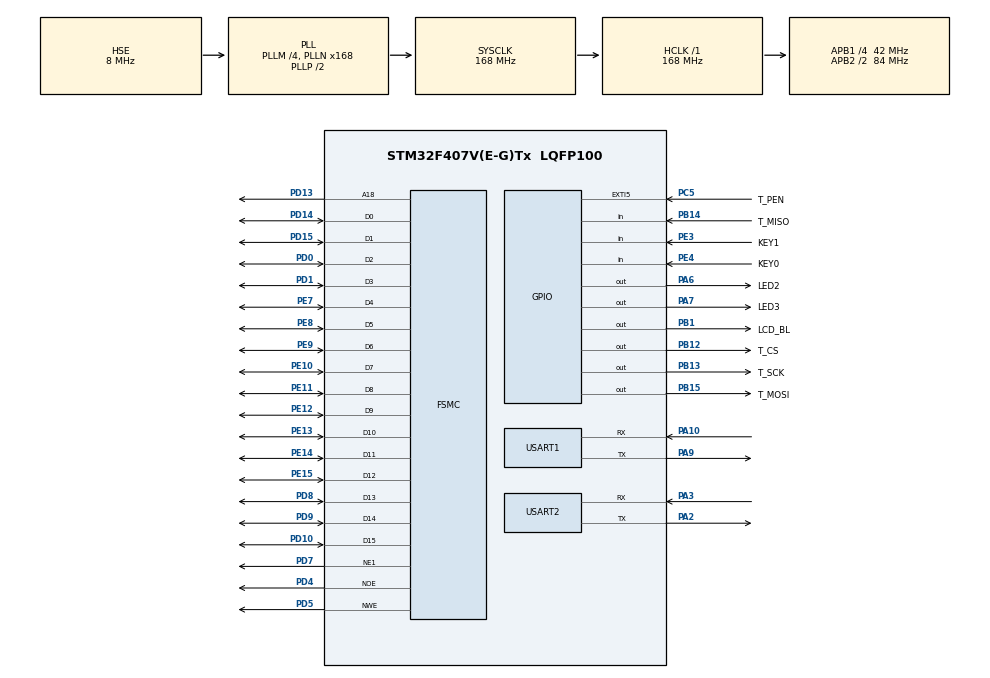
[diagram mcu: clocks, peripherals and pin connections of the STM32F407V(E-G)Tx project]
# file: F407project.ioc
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FREERTOS.BinarySemaphores01=weatherSemaphore,Dynamic,NULL,Available
FREERTOS.Tasks01=defaultTask,24,128,StartDefaultTask,Default,NULL,Dynamic,NULL,NULL;lvglTask,40,512,StartLVGLTask,Default,NULL,Dynamic,NULL,NULL;weatherTask,24,1024,StartWeatherTask,Default,NULL,Dynamic,NULL,NULL
FREERTOS.configTOTAL_HEAP_SIZE=32768
FREERTOS.configUSE_IDLE_HOOK=1
FSMC.BusTurnAroundDuration1=0
FSMC.DataSetupTime1=60
FSMC.ExtendedAddressSetupTime1=9
FSMC.ExtendedBusTurnAroundDuration1=0
FSMC.ExtendedDataSetupTime1=8
FSMC.ExtendedMode1=FSMC_EXTENDED_MODE_ENABLE
Mcu.Family=STM32F4
Mcu.Name=STM32F407V(E-G)Tx
Mcu.Package=LQFP100
NVIC.EXTI9_5_IRQn=true\:5\:0\:false\:false\:true\:true\:true\:true\:true
NVIC.PriorityGroup=NVIC_PRIORITYGROUP_4
NVIC.TIM2_IRQn=true\:5\:0\:false\:false\:true\:true\:true\:true\:true
NVIC.TIM4_IRQn=true\:15\:0\:false\:false\:true\:false\:false\:true\:true
NVIC.TimeBase=TIM4_IRQn
NVIC.TimeBaseIP=TIM4
NVIC.USART2_IRQn=true\:5\:0\:false\:false\:true\:true\:true\:true\:true
PA10.Mode=Asynchronous
PA10.Signal=USART1_RX
PA13.Mode=Serial_Wire
PA13.Signal=SYS_JTMS-SWDIO
PA14.Mode=Serial_Wire
PA14.Signal=SYS_JTCK-SWCLK
PA2.Mode=Asynchronous
PA2.Signal=USART2_TX
PA3.Mode=Asynchronous
PA3.Signal=USART2_RX
PA6.GPIO_Label=LED2
PA6.GPIO_ModeDefaultOutputPP=GPIO_MODE_OUTPUT_PP
PA6.PinState=GPIO_PIN_SET
PA6.Signal=GPIO_Output
PA7.GPIO_Label=LED3
PA7.PinState=GPIO_PIN_SET
PA7.Signal=GPIO_Output
PA9.Mode=Asynchronous
PA9.Signal=USART1_TX
PB1.GPIO_Label=LCD_BL
PB1.PinState=GPIO_PIN_SET
PB1.Signal=GPIO_Output
PB12.GPIO_Label=T_CS
PB12.GPIO_ModeDefaultOutputPP=GPIO_MODE_OUTPUT_PP
PB12.PinState=GPIO_PIN_SET
PB12.Signal=GPIO_Output
PB13.GPIO_Label=T_SCK
PB13.Signal=GPIO_Output
PB14.GPIO_Label=T_MISO
PB14.Signal=GPIO_Input
PB15.GPIO_Label=T_MOSI
PB15.Signal=GPIO_Output
PC14-OSC32_IN.Mode=LSE-External-Oscillator
PC14-OSC32_IN.Signal=RCC_OSC32_IN
PC15-OSC32_OUT.Mode=LSE-External-Oscillator
PC15-OSC32_OUT.Signal=RCC_OSC32_OUT
PC5.GPIO_Label=T_PEN
PC5.GPIO_ModeDefaultEXTI=GPIO_MODE_IT_RISING
PC5.GPIO_PuPd=GPIO_PULLUP
PC5.Signal=GPXTI5
PD0.GPIO_PuPd=GPIO_PULLUP
PD0.Mode=16b-d1
PD0.Signal=FSMC_D2
PD1.GPIO_PuPd=GPIO_PULLUP
PD1.Mode=16b-d1
PD1.Signal=FSMC_D3
PD10.GPIO_PuPd=GPIO_PULLUP
PD10.Mode=16b-d1
PD10.Signal=FSMC_D15
PD13.GPIO_PuPd=GPIO_PULLUP
PD13.Mode=A18_1
PD13.Signal=FSMC_A18
PD14.GPIO_PuPd=GPIO_PULLUP
PD14.Mode=16b-d1
PD14.Signal=FSMC_D0
PD15.GPIO_PuPd=GPIO_PULLUP
PD15.Mode=16b-d1
PD15.Signal=FSMC_D1
PD4.GPIO_PuPd=GPIO_PULLUP
PD4.Mode=Lcd1
PD4.Signal=FSMC_NOE
PD5.GPIO_PuPd=GPIO_PULLUP
PD5.Mode=Lcd1
PD5.Signal=FSMC_NWE
PD7.GPIO_PuPd=GPIO_PULLUP
PD7.Mode=NorPsramChipSelect1_1
PD7.Signal=FSMC_NE1
PD8.GPIO_PuPd=GPIO_PULLUP
PD8.Mode=16b-d1
PD8.Signal=FSMC_D13
PD9.GPIO_PuPd=GPIO_PULLUP
PD9.Mode=16b-d1
PD9.Signal=FSMC_D14
PE10.GPIO_PuPd=GPIO_PULLUP
PE10.Mode=16b-d1
PE10.Signal=FSMC_D7
PE11.GPIO_PuPd=GPIO_PULLUP
PE11.Mode=16b-d1
PE11.Signal=FSMC_D8
PE12.GPIO_PuPd=GPIO_PULLUP
PE12.Mode=16b-d1
PE12.Signal=FSMC_D9
PE13.GPIO_PuPd=GPIO_PULLUP
PE13.Mode=16b-d1
PE13.Signal=FSMC_D10
PE14.GPIO_PuPd=GPIO_PULLUP
PE14.Mode=16b-d1
PE14.Signal=FSMC_D11
PE15.GPIO_PuPd=GPIO_PULLUP
PE15.Mode=16b-d1
PE15.Signal=FSMC_D12
PE3.GPIO_Label=KEY1
PE3.GPIO_PuPd=GPIO_PULLUP
PE3.Signal=GPIO_Input
PE4.GPIO_Label=KEY0
PE4.GPIO_PuPd=GPIO_PULLUP
PE4.Signal=GPIO_Input
PE7.GPIO_PuPd=GPIO_PULLUP
PE7.Mode=16b-d1
PE7.Signal=FSMC_D4
PE8.GPIO_PuPd=GPIO_PULLUP
PE8.Mode=16b-d1
PE8.Signal=FSMC_D5
PE9.GPIO_PuPd=GPIO_PULLUP
PE9.Mode=16b-d1
PE9.Signal=FSMC_D6
PH0-OSC_IN.Mode=HSE-External-Oscillator
PH0-OSC_IN.Signal=RCC_OSC_IN
PH1-OSC_OUT.Mode=HSE-External-Oscillator
PH1-OSC_OUT.Signal=RCC_OSC_OUT
ProjectManager.HeapSize=0x200
ProjectManager.StackSize=0x400
ProjectManager.TargetToolchain=CMake
RCC.48MHZClocksFreq_Value=84000000
RCC.AHBFreq_Value=168000000
RCC.APB1CLKDivider=RCC_HCLK_DIV4
RCC.APB1Freq_Value=42000000
RCC.APB1TimFreq_Value=84000000
RCC.APB2CLKDivider=RCC_HCLK_DIV2
RCC.APB2Freq_Value=84000000
RCC.APB2TimFreq_Value=168000000
RCC.CortexFreq_Value=168000000
RCC.HCLKFreq_Value=168000000
RCC.HSE_VALUE=8000000
RCC.HSI_VALUE=16000000
RCC.PLLM=4
RCC.PLLN=168
RCC.PLLSourceVirtual=RCC_PLLSOURCE_HSE
RCC.RCC_RTC_Clock_Source=RCC_RTCCLKSOURCE_LSE
RCC.RCC_RTC_Clock_SourceVirtual=RCC_RTCCLKSOURCE_LSE
RCC.SYSCLKFreq_VALUE=168000000
RCC.SYSCLKSource=RCC_SYSCLKSOURCE_PLLCLK
RCC.VCOOutputFreq_Value=336000000
TIM2.AutoReloadPreload=TIM_AUTORELOAD_PRELOAD_ENABLE
TIM2.Period=999
TIM2.Prescaler=83
USART1.VirtualMode=VM_ASYNC
USART2.VirtualMode=VM_ASYNC
VP_FREERTOS_VS_CMSIS_V2.Mode=CMSIS_V2
VP_RTC_VS_RTC_Activate.Mode=RTC_Enabled
VP_SYS_VS_tim4.Mode=TIM4
VP_TIM2_VS_ClockSourceINT.Mode=Internal
board=custom

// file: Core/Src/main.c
/* USER CODE BEGIN Header */
/**
  ******************************************************************************
  * @file           : main.c
  * @brief          : Main program body
  ******************************************************************************
  * @attention
  *
  * Copyright (c) 2026 STMicroelectronics.
  * All rights reserved.
  *
  * This software is licensed under terms that can be found in the LICENSE file
  * in the root directory of this software component.
  * If no LICENSE file comes with this software, it is provided AS-IS.
  *
  ******************************************************************************
  */
/* USER CODE END Header */
#include "main.h"
#include "cmsis_os.h"
#include "rtc.h"
#include "tim.h"
#include "usart.h"
#include "gpio.h"
#include "fsmc.h"

/* USER CODE BEGIN PTD */
lv_ui guider_ui;// 全局变量，存储界面元素
extern long long time;// 存储从网络获取的时间戳（毫秒级）
uint16_t current_time[7];// 存储RTC时间的数组：年、月、日、时、分、秒、星期
char cached_time_str[10] = "00:00";// 初始值，确保第一次更新时会刷新显示
char cached_date_str[30] = "2024/1/1";// 初始值，确保第一次更新时会刷新显示
/* USER CODE END PTD */

/* USER CODE BEGIN PV */
// 外部声明FreeRTOS对象
extern osSemaphoreId_t weatherSemaphoreHandle;
/* USER CODE END PV */

void SystemClock_Config(void);
void MX_FREERTOS_Init(void);

int main(void)
{

  /* MCU Configuration--------------------------------------------------------*/

  /* Reset of all peripherals, Initializes the Flash interface and the Systick. */
  HAL_Init();

  /* Configure the system clock */
  SystemClock_Config();

  /* Initialize all configured peripherals */
  MX_GPIO_Init();
  MX_TIM2_Init();
  MX_FSMC_Init();
  MX_USART2_UART_Init();
  MX_USART1_UART_Init();
  MX_RTC_Init();
  /* USER CODE BEGIN 2 */
  // 连接WiFi并获取网络时间
  ESP8266_Init();          // 连接 WiFi
  ESP8266_MQTT_Init();
  //ESP8266_GetTime();       // 获取网络时间
  //MyRTC_SetFromEpoch((time / 1000)+9); // 转换为秒级
  ESP8266_GetWeather();
   extern int temperature;
    extern int humidity;
      char mqtt_data[128];
      snprintf(mqtt_data, sizeof(mqtt_data),
               "{\"temp\":%d,\"humidity\":%d,\"location\":\"%s\"}",
               temperature, humidity, YOUR_LOCATION);
      ESP8266_MQTT_Publish(mqtt_data);
  // 启用LVGL图形界面
  lv_init();
  lv_port_disp_init();
  lv_port_indev_init();
  setup_ui(&guider_ui);
  events_init(&guider_ui);

  // 初始化完成后更新日期显示（包含星期）
  update_main_screen_date();

  lv_timer_create(time_update_timer_cb, 1000, NULL);// 1秒更新一次时间
  lv_timer_create(weather_update_timer_cb, 100, NULL);// 100ms检查一次，10分钟更新一次天气
  // 在所有初始化完成后再启动TIM2定时器中断
  HAL_TIM_Base_Start_IT(&htim2);
  /* USER CODE END 2 */

  /* Init scheduler */
  osKernelInitialize();  /* Call init function for freertos objects (in cmsis_os2.c) */
  MX_FREERTOS_Init();

  /* Start scheduler */
  osKernelStart();

  /* We should never get here as control is now taken by the scheduler */

  /* Infinite loop */
  while (1)
  {

  }
}

void SystemClock_Config(void)
{
  RCC_OscInitTypeDef RCC_OscInitStruct = {0};
  RCC_ClkInitTypeDef RCC_ClkInitStruct = {0};

  /** Configure the main internal regulator output voltage
  */
  __HAL_RCC_PWR_CLK_ENABLE();
  __HAL_PWR_VOLTAGESCALING_CONFIG(PWR_REGULATOR_VOLTAGE_SCALE1);

  /** Initializes the RCC Oscillators according to the specified parameters
  * in the RCC_OscInitTypeDef structure.
  */
  RCC_OscInitStruct.OscillatorType = RCC_OSCILLATORTYPE_HSE|RCC_OSCILLATORTYPE_LSE;
  RCC_OscInitStruct.HSEState = RCC_HSE_ON;
  RCC_OscInitStruct.LSEState = RCC_LSE_ON;
  RCC_OscInitStruct.PLL.PLLState = RCC_PLL_ON;
  RCC_OscInitStruct.PLL.PLLSource = RCC_PLLSOURCE_HSE;
  RCC_OscInitStruct.PLL.PLLM = 4;
  RCC_OscInitStruct.PLL.PLLN = 168;
  RCC_OscInitStruct.PLL.PLLP = RCC_PLLP_DIV2;
  RCC_OscInitStruct.PLL.PLLQ = 4;
  if (HAL_RCC_OscConfig(&RCC_OscInitStruct) != HAL_OK)
  {
    Error_Handler();
  }

  /** Initializes the CPU, AHB and APB buses clocks
  */
  RCC_ClkInitStruct.ClockType = RCC_CLOCKTYPE_HCLK|RCC_CLOCKTYPE_SYSCLK
                              |RCC_CLOCKTYPE_PCLK1|RCC_CLOCKTYPE_PCLK2;
  RCC_ClkInitStruct.SYSCLKSource = RCC_SYSCLKSOURCE_PLLCLK;
  RCC_ClkInitStruct.AHBCLKDivider = RCC_SYSCLK_DIV1;
  RCC_ClkInitStruct.APB1CLKDivider = RCC_HCLK_DIV4;
  RCC_ClkInitStruct.APB2CLKDivider = RCC_HCLK_DIV2;

  if (HAL_RCC_ClockConfig(&RCC_ClkInitStruct, FLASH_LATENCY_5) != HAL_OK)
  {
    Error_Handler();
  }
}

void Error_Handler(void)
{
  __disable_irq();
  while (1)
  {
  }
}

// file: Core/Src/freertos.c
/* USER CODE BEGIN Header */
/**
  ******************************************************************************
  * File Name          : freertos.c
  * Description        : Code for freertos applications
  ******************************************************************************
  * @attention
  *
  * Copyright (c) 2026 STMicroelectronics.
  * All rights reserved.
  *
  * This software is licensed under terms that can be found in the LICENSE file
  * in the root directory of this software component.
  * If no LICENSE file comes with this software, it is provided AS-IS.
  *
  ******************************************************************************
  */
/* USER CODE END Header */

#include "FreeRTOS.h"
#include "task.h"
#include "main.h"
#include "cmsis_os.h"

/* USER CODE BEGIN Includes */
#include "stm32f4xx_hal_pwr.h"

volatile uint8_t weather_update_pending = 0;// 天气更新标志，供LVGLTask检查

// 背光控制变量
#define BACKLIGHT_TIMEOUT_MS    30000
volatile uint32_t lastActivityTime = 0;
volatile uint8_t backlightState = 1;

void Backlight_On(void) {
    HAL_GPIO_WritePin(LCD_BL_GPIO_Port, LCD_BL_Pin, GPIO_PIN_SET);
    backlightState = 1;
    lastActivityTime = HAL_GetTick();
}

void Backlight_Off(void) {
    HAL_GPIO_WritePin(LCD_BL_GPIO_Port, LCD_BL_Pin, GPIO_PIN_RESET);
    backlightState = 0;
}

void Backlight_Update(void) {
    uint32_t elapsed = HAL_GetTick() - lastActivityTime;
    if (elapsed > BACKLIGHT_TIMEOUT_MS && backlightState) {
        Backlight_Off();
        printf("[背光] 无操作超时，关闭背光省电\r\n");
    }
}

void Backlight_Activity(void) {
    lastActivityTime = HAL_GetTick();
    if (!backlightState) {
        Backlight_On();
        printf("[背光] 检测到活动，开启背光\r\n");
    }
}
/* USER CODE END Includes */

/* Definitions for defaultTask */
// 任务句柄
osThreadId_t defaultTaskHandle;
const osThreadAttr_t defaultTask_attributes = {
  .name = "defaultTask",
  .stack_size = 128 * 4,
  .priority = (osPriority_t) osPriorityNormal,
};
/* Definitions for lvglTask */
// 任务句柄
osThreadId_t lvglTaskHandle;
const osThreadAttr_t lvglTask_attributes = {
  .name = "lvglTask",
  .stack_size = 512 * 4,
  .priority = (osPriority_t) osPriorityHigh,
};
/* Definitions for weatherTask */
osThreadId_t weatherTaskHandle;
const osThreadAttr_t weatherTask_attributes = {
  .name = "weatherTask",
  .stack_size = 1024 * 4,
  .priority = (osPriority_t) osPriorityNormal,
};
/* Definitions for weatherSemaphore */
osSemaphoreId_t weatherSemaphoreHandle;
const osSemaphoreAttr_t weatherSemaphore_attributes = {
  .name = "weatherSemaphore"
};

void StartDefaultTask(void *argument);
void StartLVGLTask(void *argument);
void StartWeatherTask(void *argument);

void MX_FREERTOS_Init(void); /* (MISRA C 2004 rule 8.1) */

/* Hook prototypes */
void vApplicationIdleHook(void);// 空闲任务钩子函数

/* USER CODE BEGIN 2 */

void vApplicationIdleHook( void )
{
    /* 进入睡眠模式，等待中断唤醒 */
 HAL_PWR_EnterSLEEPMode(PWR_MAINREGULATOR_ON, PWR_SLEEPENTRY_WFI);
  // 唤醒后继续执行任务
   /* vApplicationIdleHook() will only be called if configUSE_IDLE_HOOK is set
   to 1 in FreeRTOSConfig.h. It will be called on each iteration of the idle
   task. It is essential that code added to this hook function never attempts
   to block in any way (for example, call xQueueReceive() with a block time
   specified, or call vTaskDelay()). If the application makes use of the
   vTaskDelete() API function (as this demo application does) then it is also
   important that vApplicationIdleHook() is permitted to return to its calling
   function, because it is the responsibility of the idle task to clean up
   memory allocated by the kernel to any task that has since been deleted. */
}
/* USER CODE END 2 */

void MX_FREERTOS_Init(void) {

  /* Create the semaphores(s) */
  /* creation of weatherSemaphore */
  weatherSemaphoreHandle = osSemaphoreNew(1, 1, &weatherSemaphore_attributes);

  /* USER CODE BEGIN RTOS_SEMAPHORES */
  /* add semaphores, ... */
  weatherSemaphoreHandle = osSemaphoreNew(1, 0, &weatherSemaphore_attributes);
  /* USER CODE END RTOS_SEMAPHORES */

  /* Create the thread(s) */
  /* creation of defaultTask */
  defaultTaskHandle = osThreadNew(StartDefaultTask, NULL, &defaultTask_attributes);

  /* creation of lvglTask */
  lvglTaskHandle = osThreadNew(StartLVGLTask, NULL, &lvglTask_attributes);

  /* creation of weatherTask */
  weatherTaskHandle = osThreadNew(StartWeatherTask, NULL, &weatherTask_attributes);

  /* USER CODE BEGIN RTOS_THREADS */
  /* add threads, ... */
  lvglTaskHandle = osThreadNew(StartLVGLTask, NULL, &lvglTask_attributes);
  weatherTaskHandle = osThreadNew(StartWeatherTask, NULL, &weatherTask_attributes);
  /* USER CODE END RTOS_THREADS */

}

void StartDefaultTask(void *argument)
{
  /* USER CODE BEGIN StartDefaultTask */
  Backlight_On();
  for(;;)
  {
    Backlight_Update();
    osDelay(100);
  }
  /* USER CODE END StartDefaultTask */
}

void StartLVGLTask(void *argument)
{
  /* USER CODE BEGIN StartLVGLTask */
    extern void update_weather_display(void);// 声明更新天气显示的函数
     extern void update_main_screen_date(void);
  /* Infinite loop */
  for(;;)
  {
    lv_timer_handler();

    // 检查是否有天气更新请求（在lv_timer_handler之后执行）
    if (weather_update_pending) {
      weather_update_pending = 0;
      printf("[LVGLTask] 开始更新天气显示...\r\n");
      update_weather_display();
      update_main_screen_date();
      printf("[LVGLTask] 天气显示更新完成\r\n");
    }    osDelay(1);
  }
  /* USER CODE END StartLVGLTask */
}

void StartWeatherTask(void *argument)
{
  /* USER CODE BEGIN StartWeatherTask */
  /* Infinite loop */
  for(;;)
  {
    // 等待信号量
    if(osSemaphoreAcquire(weatherSemaphoreHandle, 600000) == osOK) {
      printf("[天气任务] 开始获取天气数据...\r\n");
      ESP8266_GetWeather();     // 获取天气数据
      printf("[天气任务] 数据获取完成，请求UI更新\r\n");
      weather_update_pending = 1;  // 设置标志，让LVGLTask更新UI

      // 通过MQTT发布天气数据
      extern int temperature;
      extern int humidity;
      char mqtt_data[128];
      snprintf(mqtt_data, sizeof(mqtt_data),
               "{\"temp\":%d,\"humidity\":%d,\"location\":\"%s\"}",
               temperature, humidity, YOUR_LOCATION);
      ESP8266_MQTT_Publish(mqtt_data);

      osDelay(10);
      }
      }
  /* USER CODE END StartWeatherTask */
}
